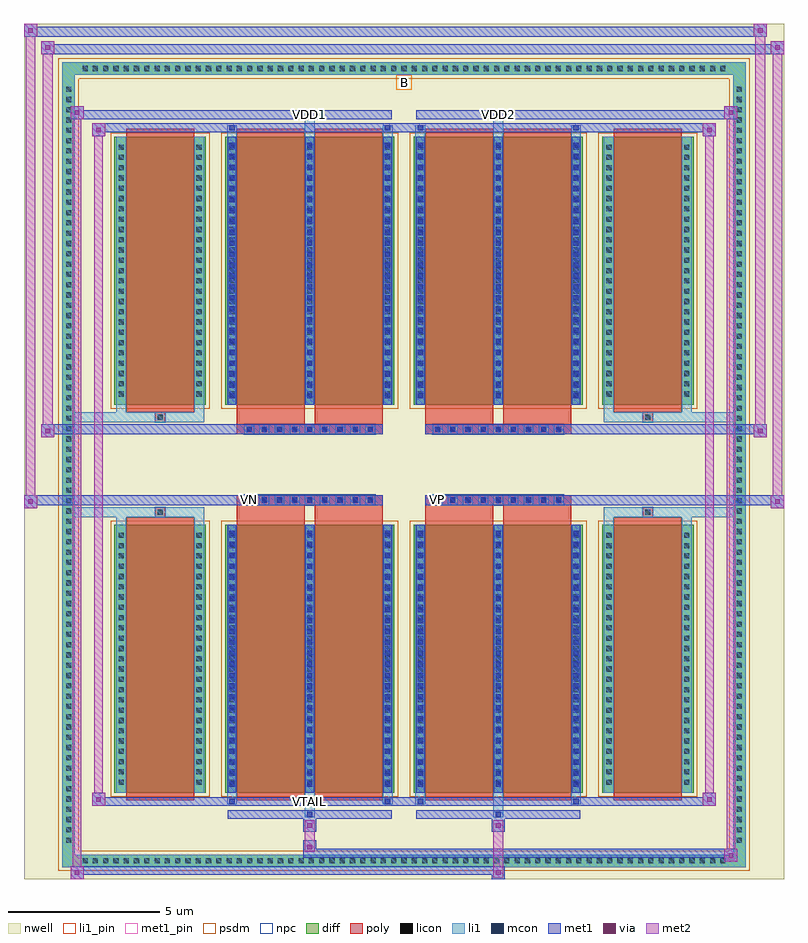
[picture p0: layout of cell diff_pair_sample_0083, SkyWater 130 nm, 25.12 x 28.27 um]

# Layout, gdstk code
import gdstk
lib = gdstk.Library(unit=1e-6, precision=5e-09)
def R(c, l, rs):  # rectangles x0, y0, x1, y1
    for r in rs: c.add(gdstk.rectangle(r[:2], r[2:], *l))
def A(c, l, x, y, w, h, nx, ny, dx, dy):  # array of equal rectangles
    R(c, l, [(x+i*dx, y+j*dy, x+i*dx+w, y+j*dy+h) for i in range(nx) for j in range(ny)])
def P(c, l, *ps):  # polygons
    for p in ps: c.add(gdstk.Polygon(p, *l))
nwell = (64, 20)
diff = (65, 20)
poly = (66, 20)
licon = (66, 44)
li1_pin = (67, 16)
li1 = (67, 20)
mcon = (67, 44)
met1_pin = (68, 16)
met1 = (68, 20)
via = (68, 44)
met2 = (69, 20)
psdm = (94, 20)
npc = (95, 20)

diff_pair_sample_0083 = lib.new_cell('diff_pair_sample_0083')
R(diff_pair_sample_0083, nwell, [(-12.56,-13.7,12.56,14.57), (-9.88,-11.89,-0.01,-0.805), (0.01,-11.89,9.88,-0.805), (-9.88,0.805,-0.01,11.89), (0.01,0.805,9.88,11.89)])
A(diff_pair_sample_0083, diff, -10.745, -13.3, 0.41, 0.41, 63, 2, 0.34, 26.19)
A(diff_pair_sample_0083, diff, -11.29, -12.615, 0.41, 0.41, 1, 74, 0, 0.34)
A(diff_pair_sample_0083, diff, 10.88, -12.615, 0.41, 0.41, 1, 74, 0, 0.34)
R(diff_pair_sample_0083, diff, [(-10.745,-13.3,10.745,-12.89), (-11.29,-12.615,-10.88,12.615), (10.88,-12.615,11.29,12.615), (-9.57,-10.845,-6.55,-1.985), (-5.91,-10.845,-0.32,-1.985), (0.32,-10.845,5.91,-1.985), (6.55,-10.845,9.57,-1.985), (-9.57,1.985,-6.55,10.845), (-5.91,1.985,-0.32,10.845), (0.32,1.985,5.91,10.845), (6.55,1.985,9.57,10.845), (-10.745,12.89,10.745,13.3)])
P(diff_pair_sample_0083, diff, [(11.29,13.3),(-11.29,13.3),(-11.29,-12.89),(-10.88,-12.89),(-10.88,12.89),(10.88,12.89),(10.88,-12.89),(-10.88,-12.89),(-11.29,-12.89),(-11.29,-13.3),(11.29,-13.3)])
A(diff_pair_sample_0083, poly, -5.28, -1.335, 0.33, 0.33, 9, 2, 0.5, 2.34)
A(diff_pair_sample_0083, poly, 0.95, -1.335, 0.33, 0.33, 9, 2, 0.5, 2.34)
R(diff_pair_sample_0083, poly, [(-9.18,-11.095,-6.94,-1.735), (-5.52,-11.095,-3.28,-1.735), (-2.95,-11.095,-0.71,-1.735), (0.71,-11.095,2.95,-1.735), (3.28,-11.095,5.52,-1.735), (6.94,-11.095,9.18,-1.735), (-8.225,-1.735,-7.895,-1.405), (-8.225,-1.735,-7.895,-1.405), (-5.52,-1.735,-3.28,-1.335), (-2.95,-1.735,-0.71,-1.335), (0.71,-1.735,2.95,-1.335), (3.28,-1.735,5.52,-1.335), (7.895,-1.735,8.225,-1.405), (7.895,-1.735,8.225,-1.405), (-5.52,-1.335,-0.71,-1.005), (0.71,-1.335,5.52,-1.005), (-5.52,1.005,-0.71,1.335), (0.71,1.005,5.52,1.335), (-5.52,1.335,-3.28,1.735), (-2.95,1.335,-0.71,1.735), (0.71,1.335,2.95,1.735), (3.28,1.335,5.52,1.735), (-8.225,1.405,-7.895,1.735), (-8.225,1.405,-7.895,1.735), (7.895,1.405,8.225,1.735), (7.895,1.405,8.225,1.735), (-9.18,1.735,-6.94,11.095), (-5.52,1.735,-3.28,11.095), (-2.95,1.735,-0.71,11.095), (0.71,1.735,2.95,11.095), (3.28,1.735,5.52,11.095), (6.94,1.735,9.18,11.095)])
A(diff_pair_sample_0083, licon, -10.625, -13.18, 0.17, 0.17, 63, 2, 0.34, 26.19)
A(diff_pair_sample_0083, licon, -11.17, -12.495, 0.17, 0.17, 1, 74, 0, 0.34)
A(diff_pair_sample_0083, licon, 11, -12.495, 0.17, 0.17, 1, 74, 0, 0.34)
A(diff_pair_sample_0083, licon, -9.43, -10.58, 0.17, 0.17, 1, 25, 0, 0.34)
A(diff_pair_sample_0083, licon, -6.86, -10.58, 0.17, 0.17, 1, 25, 0, 0.34)
A(diff_pair_sample_0083, licon, -5.77, -10.58, 0.17, 0.17, 3, 25, 2.57, 0.34)
A(diff_pair_sample_0083, licon, 0.46, -10.58, 0.17, 0.17, 3, 25, 2.57, 0.34)
A(diff_pair_sample_0083, licon, 6.69, -10.58, 0.17, 0.17, 1, 25, 0, 0.34)
A(diff_pair_sample_0083, licon, 9.26, -10.58, 0.17, 0.17, 1, 25, 0, 0.34)
A(diff_pair_sample_0083, licon, -5.2, -1.255, 0.17, 0.17, 9, 2, 0.5, 2.34)
A(diff_pair_sample_0083, licon, 1.03, -1.255, 0.17, 0.17, 9, 2, 0.5, 2.34)
A(diff_pair_sample_0083, licon, -9.43, 2.25, 0.17, 0.17, 1, 25, 0, 0.34)
A(diff_pair_sample_0083, licon, -6.86, 2.25, 0.17, 0.17, 1, 25, 0, 0.34)
A(diff_pair_sample_0083, licon, -5.77, 2.25, 0.17, 0.17, 3, 25, 2.57, 0.34)
A(diff_pair_sample_0083, licon, 0.46, 2.25, 0.17, 0.17, 3, 25, 2.57, 0.34)
A(diff_pair_sample_0083, licon, 6.69, 2.25, 0.17, 0.17, 1, 25, 0, 0.34)
A(diff_pair_sample_0083, licon, 9.26, 2.25, 0.17, 0.17, 1, 25, 0, 0.34)
R(diff_pair_sample_0083, licon, [(-8.145,-1.655,-7.975,-1.485), (7.975,-1.655,8.145,-1.485), (-8.145,1.485,-7.975,1.655), (7.975,1.485,8.145,1.655)])
R(diff_pair_sample_0083, li1_pin, [(-0.25,12.39,0.25,12.89)])
A(diff_pair_sample_0083, li1, -10.705, -13.26, 0.33, 0.33, 63, 2, 0.34, 26.19)
A(diff_pair_sample_0083, li1, -11.25, -12.575, 0.33, 0.33, 1, 74, 0, 0.34)
A(diff_pair_sample_0083, li1, 10.92, -12.575, 0.33, 0.33, 1, 74, 0, 0.34)
A(diff_pair_sample_0083, li1, -5.85, -10.845, 0.33, 8.86, 3, 2, 2.57, 12.83)
A(diff_pair_sample_0083, li1, 0.38, -10.845, 0.33, 8.86, 3, 2, 2.57, 12.83)
A(diff_pair_sample_0083, li1, -9.51, -10.66, 0.33, 0.33, 1, 25, 0, 0.34)
A(diff_pair_sample_0083, li1, -6.94, -10.66, 0.33, 0.33, 1, 25, 0, 0.34)
A(diff_pair_sample_0083, li1, -5.85, -10.66, 0.33, 0.33, 3, 25, 2.57, 0.34)
A(diff_pair_sample_0083, li1, 0.38, -10.66, 0.33, 0.33, 3, 25, 2.57, 0.34)
A(diff_pair_sample_0083, li1, 6.61, -10.66, 0.33, 0.33, 1, 25, 0, 0.34)
A(diff_pair_sample_0083, li1, 9.18, -10.66, 0.33, 0.33, 1, 25, 0, 0.34)
A(diff_pair_sample_0083, li1, -5.77, -10.64, 0.17, 0.17, 3, 24, 2.57, 0.36)
A(diff_pair_sample_0083, li1, -5.77, -10.64, 0.17, 8.45, 3, 2, 2.57, 12.83)
A(diff_pair_sample_0083, li1, 0.46, -10.64, 0.17, 0.17, 3, 24, 2.57, 0.36)
A(diff_pair_sample_0083, li1, 0.46, -10.64, 0.17, 8.45, 3, 2, 2.57, 12.83)
A(diff_pair_sample_0083, li1, -5.28, -1.335, 0.33, 0.33, 9, 2, 0.5, 2.34)
A(diff_pair_sample_0083, li1, 0.95, -1.335, 0.33, 0.33, 9, 2, 0.5, 2.34)
A(diff_pair_sample_0083, li1, -9.51, 2.17, 0.33, 0.33, 1, 25, 0, 0.34)
A(diff_pair_sample_0083, li1, -6.94, 2.17, 0.33, 0.33, 1, 25, 0, 0.34)
A(diff_pair_sample_0083, li1, -5.85, 2.17, 0.33, 0.33, 3, 25, 2.57, 0.34)
A(diff_pair_sample_0083, li1, 0.38, 2.17, 0.33, 0.33, 3, 25, 2.57, 0.34)
A(diff_pair_sample_0083, li1, 6.61, 2.17, 0.33, 0.33, 1, 25, 0, 0.34)
A(diff_pair_sample_0083, li1, 9.18, 2.17, 0.33, 0.33, 1, 25, 0, 0.34)
A(diff_pair_sample_0083, li1, -5.77, 2.19, 0.17, 0.17, 3, 24, 2.57, 0.36)
A(diff_pair_sample_0083, li1, 0.46, 2.19, 0.17, 0.17, 3, 24, 2.57, 0.36)
R(diff_pair_sample_0083, li1, [(-11.29,-13.3,-10.88,-12.89), (-11.29,-13.3,-10.88,-12.89), (-10.88,-13.3,10.88,-12.89), (10.88,-13.3,11.29,-12.89), (10.88,-13.3,11.29,-12.89), (-11.29,-12.89,-10.88,12.89), (10.88,-12.89,11.29,12.89), (-3.28,-11.65,-2.95,-10.845), (-3.2,-11.65,-3.03,-11.48), (2.95,-11.65,3.28,-10.845), (3.03,-11.65,3.2,-11.48), (-5.85,-11.22,-5.52,-10.845), (-5.77,-11.22,-5.6,-11.05), (-0.71,-11.22,-0.38,-10.845), (-0.63,-11.22,-0.46,-11.05), (0.38,-11.22,0.71,-10.845), (0.46,-11.22,0.63,-11.05), (5.52,-11.22,5.85,-10.845), (5.6,-11.22,5.77,-11.05), (-9.51,-10.845,-9.18,-1.985), (-6.94,-10.845,-6.61,-1.985), (6.61,-10.845,6.94,-1.985), (9.18,-10.845,9.51,-1.985), (-9.51,-1.985,-9.18,-1.405), (-6.94,-1.985,-6.61,-1.405), (6.61,-1.985,6.94,-1.405), (9.18,-1.985,9.51,-1.405), (-11.29,-1.735,-8.225,-1.405), (-9.51,-1.735,-8.225,-1.405), (-8.225,-1.735,-7.895,-1.405), (-7.895,-1.735,-6.61,-1.405), (6.61,-1.735,7.895,-1.405), (7.895,-1.735,8.225,-1.405), (7.895,-1.735,11.29,-1.405), (8.225,-1.735,9.51,-1.405), (-11.29,1.405,-8.225,1.735), (-9.51,1.405,-8.225,1.735), (-9.51,1.405,-9.18,1.985), (-8.225,1.405,-7.895,1.735), (-7.895,1.405,-6.61,1.735), (-6.94,1.405,-6.61,1.985), (6.61,1.405,7.895,1.735), (6.61,1.405,6.94,1.985), (7.895,1.405,8.225,1.735), (7.895,1.405,11.29,1.735), (8.225,1.405,9.51,1.735), (9.18,1.405,9.51,1.985), (-9.51,1.985,-9.18,10.845), (-6.94,1.985,-6.61,10.845), (6.61,1.985,6.94,10.845), (9.18,1.985,9.51,10.845), (-5.85,10.845,-5.52,11.22), (-3.28,10.845,-2.95,11.65), (-0.71,10.845,-0.38,11.22), (0.38,10.845,0.71,11.22), (2.95,10.845,3.28,11.65), (5.52,10.845,5.85,11.22), (-5.77,11.05,-5.6,11.22), (-0.63,11.05,-0.46,11.22), (0.46,11.05,0.63,11.22), (5.6,11.05,5.77,11.22), (-3.2,11.48,-3.03,11.65), (3.03,11.48,3.2,11.65), (-11.29,12.89,-10.88,13.3), (-11.29,12.89,-10.88,13.3), (-10.88,12.89,10.88,13.3), (10.88,12.89,11.29,13.3), (10.88,12.89,11.29,13.3)])
A(diff_pair_sample_0083, mcon, -5.77, -10.64, 0.17, 0.17, 3, 24, 2.57, 0.36)
A(diff_pair_sample_0083, mcon, 0.46, -10.64, 0.17, 0.17, 3, 24, 2.57, 0.36)
A(diff_pair_sample_0083, mcon, -5.2, -1.255, 0.17, 0.17, 9, 2, 0.5, 2.34)
A(diff_pair_sample_0083, mcon, 1.03, -1.255, 0.17, 0.17, 9, 2, 0.5, 2.34)
A(diff_pair_sample_0083, mcon, -5.77, 2.19, 0.17, 0.17, 3, 24, 2.57, 0.36)
A(diff_pair_sample_0083, mcon, 0.46, 2.19, 0.17, 0.17, 3, 24, 2.57, 0.36)
R(diff_pair_sample_0083, mcon, [(-3.2,-11.65,-3.03,-11.48), (3.03,-11.65,3.2,-11.48), (-5.77,-11.22,-5.6,-11.05), (-0.63,-11.22,-0.46,-11.05), (0.46,-11.22,0.63,-11.05), (5.6,-11.22,5.77,-11.05), (-5.77,11.05,-5.6,11.22), (-0.63,11.05,-0.46,11.22), (0.46,11.05,0.63,11.22), (5.6,11.05,5.77,11.22), (-3.2,11.48,-3.03,11.65), (3.03,11.48,3.2,11.65)])
R(diff_pair_sample_0083, met1_pin, [(-3.25,-11.26,-2.98,-10.99), (-5.25,-1.295,-4.98,-1.025), (0.98,-1.295,1.25,-1.025), (-3.25,11.44,-2.98,11.71), (2.98,11.44,3.25,11.71)])
A(diff_pair_sample_0083, met1, -5.83, -10.845, 0.29, 8.86, 3, 2, 2.57, 12.83)
A(diff_pair_sample_0083, met1, 0.4, -10.845, 0.29, 8.86, 3, 2, 2.57, 12.83)
A(diff_pair_sample_0083, met1, -5.83, -10.7, 0.29, 0.29, 3, 24, 2.57, 0.36)
A(diff_pair_sample_0083, met1, 0.4, -10.7, 0.29, 0.29, 3, 24, 2.57, 0.36)
A(diff_pair_sample_0083, met1, -5.26, -1.315, 0.29, 0.29, 9, 2, 0.5, 2.34)
A(diff_pair_sample_0083, met1, 0.97, -1.315, 0.29, 0.29, 9, 2, 0.5, 2.34)
A(diff_pair_sample_0083, met1, -5.83, 2.13, 0.29, 0.29, 3, 24, 2.57, 0.36)
A(diff_pair_sample_0083, met1, 0.4, 2.13, 0.29, 0.29, 3, 24, 2.57, 0.36)
R(diff_pair_sample_0083, met1, [(-11.02,-13.7,-10.59,-13.27), (2.9,-13.7,3.33,-13.27), (-11.02,-13.56,3.33,-13.27), (10.59,-13.13,11.02,-12.7), (-3.33,-12.99,11.02,-12.7), (-3.33,-12.85,-2.9,-12.42), (-3.33,-12.14,-2.9,-11.71), (2.9,-12.14,3.33,-11.71), (-5.83,-11.71,-0.4,-11.42), (-3.26,-11.71,-2.97,-11.42), (0.4,-11.71,5.83,-11.42), (2.97,-11.71,3.26,-11.42), (-10.31,-11.28,-9.88,-10.85), (-10.31,-11.28,-5.83,-10.99), (-5.83,-11.28,-5.54,-10.99), (-5.83,-11.28,-0.4,-10.99), (-0.69,-11.28,-0.4,-10.99), (-0.4,-11.28,0.4,-10.99), (0.4,-11.28,0.69,-10.99), (0.4,-11.28,5.83,-10.99), (5.54,-11.28,5.83,-10.99), (5.83,-11.28,10.31,-10.99), (9.88,-11.28,10.31,-10.85), (-12.56,-1.435,-12.13,-1.005), (12.13,-1.435,12.56,-1.005), (-12.56,-1.335,-0.71,-1.005), (-5.52,-1.335,-0.71,-1.005), (0.71,-1.335,5.52,-1.005), (0.71,-1.335,12.56,-1.005), (-11.99,0.905,-11.56,1.335), (11.56,0.905,11.99,1.335), (-11.99,1.005,-5.52,1.335), (-5.52,1.005,-0.71,1.335), (0.71,1.005,5.52,1.335), (5.52,1.005,11.99,1.335), (-10.31,10.85,-9.88,11.28), (9.88,10.85,10.31,11.28), (-10.31,10.99,-5.83,11.28), (-5.83,10.99,-5.54,11.28), (-5.83,10.99,-0.4,11.28), (-0.69,10.99,-0.4,11.28), (-0.4,10.99,0.4,11.28), (0.4,10.99,0.69,11.28), (0.4,10.99,5.83,11.28), (5.54,10.99,5.83,11.28), (5.83,10.99,10.31,11.28), (-11.02,11.42,-10.59,11.85), (-11.02,11.42,-5.83,11.71), (-5.83,11.42,-0.4,11.71), (-3.26,11.42,-2.97,11.71), (0.4,11.42,5.83,11.71), (2.97,11.42,3.26,11.71), (5.83,11.42,11.02,11.71), (10.59,11.42,11.02,11.85), (-11.99,13.57,-11.56,14), (-11.99,13.57,-9.88,13.9), (-9.88,13.57,9.88,13.9), (9.88,13.57,12.56,13.9), (12.13,13.57,12.56,14), (-12.56,14.14,-12.13,14.57), (-12.56,14.14,-9.88,14.47), (-9.88,14.14,9.88,14.47), (9.88,14.14,11.99,14.47), (11.56,14.14,11.99,14.57)])
R(diff_pair_sample_0083, via, [(-10.88,-13.56,-10.73,-13.41), (3.04,-13.56,3.19,-13.41), (10.73,-12.99,10.88,-12.84), (-3.19,-12.71,-3.04,-12.56), (-3.19,-12,-3.04,-11.85), (3.04,-12,3.19,-11.85), (-10.17,-11.14,-10.02,-10.99), (10.02,-11.14,10.17,-10.99), (-12.42,-1.295,-12.27,-1.145), (12.27,-1.295,12.42,-1.145), (-11.85,1.045,-11.7,1.195), (11.7,1.045,11.85,1.195), (-10.17,10.99,-10.02,11.14), (10.02,10.99,10.17,11.14), (-10.88,11.56,-10.73,11.71), (10.73,11.56,10.88,11.71), (-11.85,13.71,-11.7,13.86), (12.27,13.71,12.42,13.86), (-12.42,14.28,-12.27,14.43), (11.7,14.28,11.85,14.43)])
R(diff_pair_sample_0083, met2, [(-11.02,-13.7,-10.59,-13.27), (-10.95,-13.7,-10.66,11.85), (-10.66,-13.7,-10.59,-13.27), (-10.97,-13.65,-10.64,-13.32), (2.95,-13.65,3.28,-13.32), (2.95,-13.32,3.28,-12.09), (10.59,-13.13,11.02,-12.7), (10.66,-13.13,10.95,11.85), (10.95,-13.13,11.02,-12.7), (10.64,-13.08,10.97,-12.75), (-3.28,-12.8,-2.95,-12.47), (-3.28,-12.47,-2.95,-12.09), (-3.28,-12.09,-2.95,-11.76), (2.95,-12.09,3.28,-11.76), (-10.31,-11.28,-9.88,-10.85), (-10.24,-11.28,-9.95,11.28), (-9.95,-11.28,-9.88,-10.85), (9.88,-11.28,10.31,-10.85), (9.95,-11.28,10.24,11.28), (10.24,-11.28,10.31,-10.85), (-10.26,-11.23,-9.93,-10.9), (9.93,-11.23,10.26,-10.9), (-12.56,-1.435,-12.13,-1.005), (-12.51,-1.435,-12.18,14.57), (-12.18,-1.435,-12.13,-1.005), (12.13,-1.435,12.56,-1.005), (12.18,-1.435,12.51,14), (12.51,-1.435,12.56,-1.005), (-12.51,-1.385,-12.18,-1.055), (12.18,-1.385,12.51,-1.055), (-11.99,0.905,-11.56,1.335), (-11.94,0.905,-11.61,14), (-11.61,0.905,-11.56,1.335), (11.56,0.905,11.99,1.335), (11.61,0.905,11.94,14.57), (11.94,0.905,11.99,1.335), (-11.94,0.955,-11.61,1.285), (11.61,0.955,11.94,1.285), (-10.31,10.85,-9.88,11.28), (-9.95,10.85,-9.88,11.28), (9.88,10.85,10.31,11.28), (10.24,10.85,10.31,11.28), (-10.26,10.9,-9.93,11.23), (9.93,10.9,10.26,11.23), (-11.02,11.42,-10.59,11.85), (-10.66,11.42,-10.59,11.85), (10.59,11.42,11.02,11.85), (10.95,11.42,11.02,11.85), (-10.97,11.47,-10.64,11.8), (10.64,11.47,10.97,11.8), (-11.99,13.57,-11.56,14), (-11.61,13.57,-11.56,14), (12.13,13.57,12.56,14), (12.51,13.57,12.56,14), (-11.94,13.62,-11.61,13.95), (12.18,13.62,12.51,13.95), (-12.56,14.14,-12.13,14.57), (-12.18,14.14,-12.13,14.57), (11.56,14.14,11.99,14.57), (11.94,14.14,11.99,14.57), (-12.51,14.19,-12.18,14.52), (11.61,14.19,11.94,14.52)])
R(diff_pair_sample_0083, psdm, [(-9.7,-10.975,-6.42,-1.855), (-6.04,-10.975,-0.19,-1.855), (0.19,-10.975,6.04,-1.855), (6.42,-10.975,9.7,-1.855), (-9.7,1.855,-6.42,10.975), (-6.04,1.855,-0.19,10.975), (0.19,1.855,6.04,10.975), (6.42,1.855,9.7,10.975)])
P(diff_pair_sample_0083, psdm, [(11.42,13.43),(-11.42,13.43),(-11.42,-12.76),(-10.75,-12.76),(-10.75,12.76),(10.75,12.76),(10.75,-12.76),(-10.75,-12.76),(-11.42,-12.76),(-11.42,-13.43),(11.42,-13.43)])
A(diff_pair_sample_0083, npc, -5.3, -1.355, 0.37, 0.37, 9, 2, 0.5, 2.34)
A(diff_pair_sample_0083, npc, 0.93, -1.355, 0.37, 0.37, 9, 2, 0.5, 2.34)
R(diff_pair_sample_0083, npc, [(-8.245,-1.755,-7.875,-1.385), (7.875,-1.755,8.245,-1.385), (-5.3,-1.355,-4.43,-0.985), (-5.3,-1.355,-4.43,-0.985), (-4.8,-1.355,-3.93,-0.985), (-4.8,-1.355,-3.93,-0.985), (-4.3,-1.355,-3.43,-0.985), (-4.3,-1.355,-3.43,-0.985), (-3.8,-1.355,-2.93,-0.985), (-3.8,-1.355,-2.93,-0.985), (-3.3,-1.355,-2.43,-0.985), (-3.3,-1.355,-2.43,-0.985), (-2.8,-1.355,-1.93,-0.985), (-2.8,-1.355,-1.93,-0.985), (-2.3,-1.355,-1.43,-0.985), (-2.3,-1.355,-1.43,-0.985), (-1.8,-1.355,-0.93,-0.985), (-1.8,-1.355,-0.93,-0.985), (0.93,-1.355,1.8,-0.985), (0.93,-1.355,1.8,-0.985), (1.43,-1.355,2.3,-0.985), (1.43,-1.355,2.3,-0.985), (1.93,-1.355,2.8,-0.985), (1.93,-1.355,2.8,-0.985), (2.43,-1.355,3.3,-0.985), (2.43,-1.355,3.3,-0.985), (2.93,-1.355,3.8,-0.985), (2.93,-1.355,3.8,-0.985), (3.43,-1.355,4.3,-0.985), (3.43,-1.355,4.3,-0.985), (3.93,-1.355,4.8,-0.985), (3.93,-1.355,4.8,-0.985), (4.43,-1.355,5.3,-0.985), (4.43,-1.355,5.3,-0.985), (-5.3,0.985,-4.43,1.355), (-5.3,0.985,-4.43,1.355), (-4.8,0.985,-3.93,1.355), (-4.8,0.985,-3.93,1.355), (-4.3,0.985,-3.43,1.355), (-4.3,0.985,-3.43,1.355), (-3.8,0.985,-2.93,1.355), (-3.8,0.985,-2.93,1.355), (-3.3,0.985,-2.43,1.355), (-3.3,0.985,-2.43,1.355), (-2.8,0.985,-1.93,1.355), (-2.8,0.985,-1.93,1.355), (-2.3,0.985,-1.43,1.355), (-2.3,0.985,-1.43,1.355), (-1.8,0.985,-0.93,1.355), (-1.8,0.985,-0.93,1.355), (0.93,0.985,1.8,1.355), (0.93,0.985,1.8,1.355), (1.43,0.985,2.3,1.355), (1.43,0.985,2.3,1.355), (1.93,0.985,2.8,1.355), (1.93,0.985,2.8,1.355), (2.43,0.985,3.3,1.355), (2.43,0.985,3.3,1.355), (2.93,0.985,3.8,1.355), (2.93,0.985,3.8,1.355), (3.43,0.985,4.3,1.355), (3.43,0.985,4.3,1.355), (3.93,0.985,4.8,1.355), (3.93,0.985,4.8,1.355), (4.43,0.985,5.3,1.355), (4.43,0.985,5.3,1.355), (-8.245,1.385,-7.875,1.755), (7.875,1.385,8.245,1.755)])
diff_pair_sample_0083.add(gdstk.Label('VTAIL', (-3.115,-11.125), layer=68, texttype=5))
diff_pair_sample_0083.add(gdstk.Label('VN', (-5.115,-1.16), layer=68, texttype=5))
diff_pair_sample_0083.add(gdstk.Label('VP', (1.115,-1.16), layer=68, texttype=5))
diff_pair_sample_0083.add(gdstk.Label('B', (0,12.64), layer=67, texttype=5))
diff_pair_sample_0083.add(gdstk.Label('VDD2', (3.115,11.575), layer=68, texttype=5))
diff_pair_sample_0083.add(gdstk.Label('VDD1', (-3.115,11.575), layer=68, texttype=5))

lib.write_gds('diff_pair_sample_0083.gds')
